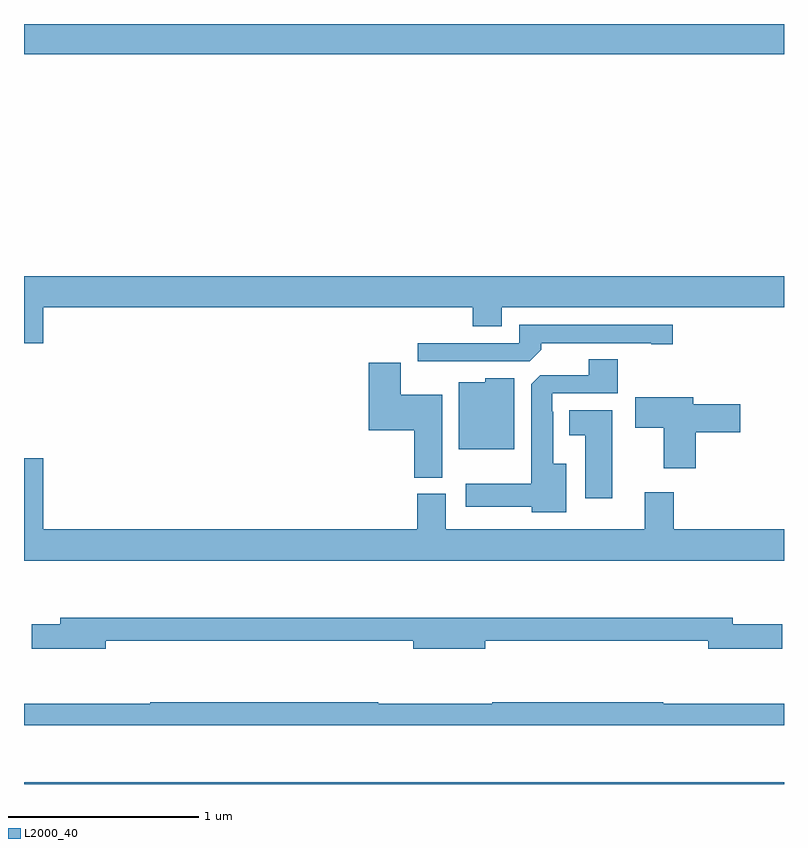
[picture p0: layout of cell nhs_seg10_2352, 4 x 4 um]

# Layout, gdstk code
import gdstk
lib = gdstk.Library(unit=1e-6, precision=1e-09)
def R(c, l, rs):  # rectangles x0, y0, x1, y1
    for r in rs: c.add(gdstk.rectangle(r[:2], r[2:], *l))
def P(c, l, *ps):  # polygons
    for p in ps: c.add(gdstk.Polygon(p, *l))
L2000_40 = (2000, 40)

nhs_seg10_2352 = lib.new_cell('nhs_seg10_2352')
R(nhs_seg10_2352, L2000_40, [(237,1272.5,241,1272.508), (237,1276.34,241,1276.5)])
P(nhs_seg10_2352, L2000_40, [(237.1,1275.008),(239.363,1275.008),(239.363,1274.909),(239.515,1274.909),(239.515,1275.008),(241,1275.008),(241,1275.172),(237,1275.172),(237,1274.82),(237.1,1274.82)],
  [(239.723,1274.786),(239.723,1274.82),(240.302,1274.82),(240.302,1274.815),(240.415,1274.815),(240.415,1274.916),(239.607,1274.916),(239.607,1274.82),(239.073,1274.82),(239.073,1274.724),(239.661,1274.724)],
  [(239.854,1274.185),(239.785,1274.185),(239.785,1274.459),(239.781,1274.459),(239.781,1274.556),(240.125,1274.556),(240.125,1274.735),(239.972,1274.735),(239.972,1274.652),(239.718,1274.652),(239.669,1274.603),(239.669,1274.08),(239.325,1274.08),(239.325,1273.958),(239.673,1273.958),(239.673,1273.931),(239.854,1273.931)],
  [(239.2,1274.548),(238.984,1274.548),(238.984,1274.716),(238.814,1274.716),(238.814,1274.363),(239.054,1274.363),(239.054,1274.113),(239.2,1274.113)],
  [(239.581,1274.635),(239.427,1274.635),(239.427,1274.614),(239.288,1274.614),(239.288,1274.261),(239.581,1274.261)],
  [(240.536,1274.351),(240.769,1274.351),(240.769,1274.498),(240.523,1274.498),(240.523,1274.536),(240.216,1274.536),(240.216,1274.374),(240.368,1274.374),(240.368,1274.163),(240.536,1274.163)],
  [(240.097,1274.467),(239.87,1274.467),(239.87,1274.336),(239.954,1274.336),(239.954,1274.004),(240.097,1274.004)],
  [(240.266,1274.035),(240.266,1273.84),(239.221,1273.84),(239.221,1274.028),(239.069,1274.028),(239.069,1273.84),(237.1,1273.84),(237.1,1274.215),(237,1274.215),(237,1273.676),(241,1273.676),(241,1273.84),(240.419,1273.84),(240.419,1274.035)],
  [(237.43,1273.254),(239.048,1273.254),(239.048,1273.211),(239.428,1273.211),(239.428,1273.254),(240.602,1273.254),(240.602,1273.211),(240.991,1273.211),(240.991,1273.341),(240.73,1273.341),(240.73,1273.375),(237.191,1273.375),(237.191,1273.341),(237.042,1273.341),(237.042,1273.211),(237.43,1273.211)],
  [(241,1272.923),(240.365,1272.923),(240.365,1272.931),(239.465,1272.931),(239.465,1272.923),(238.865,1272.923),(238.865,1272.931),(237.665,1272.931),(237.665,1272.923),(237,1272.923),(237,1272.81),(241,1272.81)])

lib.write_gds('nhs_seg10_2352.gds')
